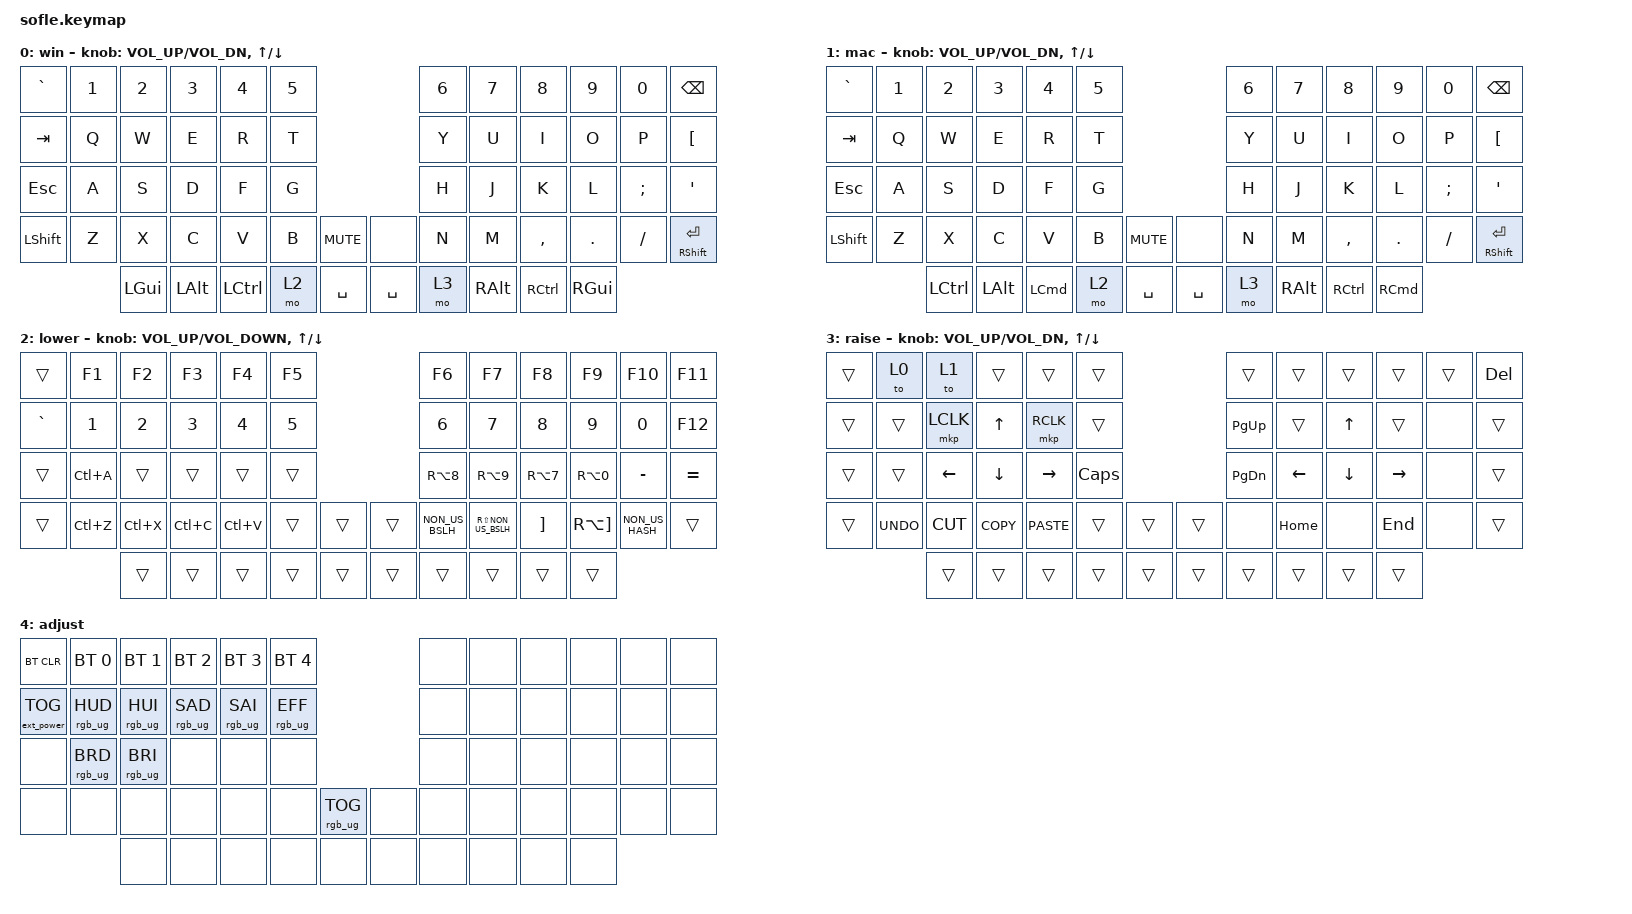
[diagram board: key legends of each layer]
#include <behaviors.dtsi>
#include <dt-bindings/zmk/bt.h>
#include <dt-bindings/zmk/ext_power.h>
#include <dt-bindings/zmk/keys.h>
#include <dt-bindings/zmk/mouse.h>
#include <dt-bindings/zmk/rgb.h>

#define BASE 0
#define MAC 1
#define LOWER 2
#define RAISE 3
#define ADJUST 4

/ {
    // Activate ADJUST layer by pressing raise and lower

    conditional_layers {
        compatible = "zmk,conditional-layers";

        adjust_layer {
            if-layers = <LOWER RAISE>;
            then-layer = <ADJUST>;
        };
    };

    keymap {
        compatible = "zmk,keymap";

        win_layer {
            display-name = "win";

            // ------------------------------------------------------------------------------------------------------------
            // |   `   |  1  |  2  |  3   |  4   |  5   |                   |  6   |  7    |  8    |  9   |   0   |       |
            // |  ESC  |  Q  |  W  |  E   |  R   |  T   |                   |  Y   |  U    |  I    |  O   |   P   | BKSPC |
            // |  TAB  |  A  |  S  |  D   |  F   |  G   |                   |  H   |  J    |  K    |  L   |   ;   |   '   |
            // | SHIFT |  Z  |  X  |  C   |  V   |  B   |  MUTE  |  |       |  N   |  M    |  ,    |  .   |   /   | SHIFT |
            //               | GUI | ALT  | CTRL | LOWER|  ENTER |  | SPACE | RAISE| CTRL  | ALT   | GUI  |

            bindings = <
&kp GRAVE  &kp N1  &kp N2        &kp N3        &kp N4     &kp N5                           &kp N6  &kp N7         &kp N8     &kp N9    &kp N0    &kp BACKSPACE
&kp TAB    &kp Q   &kp W         &kp E         &kp R      &kp T                            &kp Y   &kp U          &kp I      &kp O     &kp P     &kp LEFT_BRACKET
&kp ESC    &kp A   &kp S         &kp D         &kp F      &kp G                            &kp H   &kp J          &kp K      &kp L     &kp SEMI  &kp SQT
&kp LSHFT  &kp Z   &kp X         &kp C         &kp V      &kp B   &kp C_MUTE    &none      &kp N   &kp M          &kp COMMA  &kp DOT   &kp FSLH  &mt RSHIFT ENTER
                   &kp LEFT_GUI  &kp LEFT_ALT  &kp LCTRL  &mo 2   &kp SPACE     &kp SPACE  &mo 3   &kp RIGHT_ALT  &kp RCTRL  &kp RGUI
            >;

            sensor-bindings =
                <&inc_dec_kp C_VOLUME_UP C_VOL_DN>,
                <&inc_dec_kp UP_ARROW DOWN_ARROW>;
        };

        mac_layer {
            display-name = "mac";
            bindings = <
&kp GRAVE  &kp N1  &kp N2     &kp N3    &kp N4            &kp N5                           &kp N6  &kp N7         &kp N8     &kp N9             &kp N0    &kp BACKSPACE
&kp TAB    &kp Q   &kp W      &kp E     &kp R             &kp T                            &kp Y   &kp U          &kp I      &kp O              &kp P     &kp LEFT_BRACKET
&kp ESC    &kp A   &kp S      &kp D     &kp F             &kp G                            &kp H   &kp J          &kp K      &kp L              &kp SEMI  &kp SQT
&kp LSHFT  &kp Z   &kp X      &kp C     &kp V             &kp B   &kp C_MUTE    &none      &kp N   &kp M          &kp COMMA  &kp DOT            &kp FSLH  &mt RSHIFT ENTER
                   &kp LCTRL  &kp LALT  &kp LEFT_COMMAND  &mo 2   &kp SPACE     &kp SPACE  &mo 3   &kp RIGHT_ALT  &kp RCTRL  &kp RIGHT_COMMAND
            >;

            sensor-bindings =
                <&inc_dec_kp C_VOL_UP C_VOL_DN>,
                <&inc_dec_kp UP_ARROW DOWN_ARROW>;
        };

        lower_layer {
            display-name = "lower";

            // TODO: Some binds are waiting for shifted keycode support.
            // ------------------------------------------------------------------------------------------------------------
            // |       |  F1 |  F2 |  F3  |  F4  |  F5  |                   |  F6  |  F7   |  F8   |  F9  |  F10  |  F11  |
            // |   `   |  1  |  2  |  3   |  4   |  5   |                   |  6   |  7    |  8    |  9   |   0   |  F12  |
            // |       |  !  |  @  |  #   |  $   |  %   |                   |  ^   |  &    |  *    |  (   |   )   |   |   |
            // |       |  =  |  -  |  +   |  {   |  }   |        |  |       |  [   |  ]    |  ;    |  :   |   \   |       |
            //               |     |      |      |      |        |  |       |      |       |       |      |

            bindings = <
&trans     &kp F1     &kp F2     &kp F3     &kp F4     &kp F5                    &kp F6           &kp F7               &kp F8             &kp F9                 &kp F10          &kp F11
&kp GRAVE  &kp N1     &kp N2     &kp N3     &kp N4     &kp N5                    &kp N6           &kp N7               &kp N8             &kp N9                 &kp N0           &kp F12
&trans     &kp LC(A)  &trans     &trans     &trans     &trans                    &kp RA(N8)       &kp RA(N9)           &kp RA(N7)         &kp RA(N0)             &kp MINUS        &kp EQUAL
&trans     &kp LC(Z)  &kp LC(X)  &kp LC(C)  &kp LC(V)  &trans  &trans    &trans  &kp NON_US_BSLH  &kp RS(NON_US_BSLH)  &kp RIGHT_BRACKET  &kp RA(RIGHT_BRACKET)  &kp NON_US_HASH  &trans
                      &trans     &trans     &trans     &trans  &trans    &trans  &trans           &trans               &trans             &trans
            >;

            sensor-bindings =
                <&inc_dec_kp C_VOLUME_UP C_VOLUME_DOWN>,
                <&inc_dec_kp UP_ARROW DOWN_ARROW>;
        };

        raise_layer {
            display-name = "raise";

            // ------------------------------------------------------------------------------------------------------------
            // | BTCLR | BT1  | BT2  |  BT3  |  BT4  |  BT5 |                |      |      |       |      |       |       |
            // |       | INS  | PSCR | GUI   |       |      |                | PGUP |      |   ^   |      |       |       |
            // |       | ALT  | CTRL | SHIFT |       | CAPS |                | PGDN |   <- |   v   |  ->  |  DEL  | BKSPC |
            // |       | UNDO | CUT  | COPY  | PASTE |      |      |  |      |      |      |       |      |       |       |
            //                |      |       |       |      |      |  |      |      |      |       |      |

            bindings = <
&trans  &to 0       &to 1      &trans      &trans       &trans                      &trans     &trans    &trans    &trans     &trans  &kp DELETE
&trans  &trans      &mkp LCLK  &kp UP      &mkp RCLK    &trans                      &kp PG_UP  &trans    &kp UP    &trans     &none   &trans
&trans  &trans      &kp LEFT   &kp DOWN    &kp RIGHT    &kp CLCK                    &kp PG_DN  &kp LEFT  &kp DOWN  &kp RIGHT  &none   &trans
&trans  &kp K_UNDO  &kp K_CUT  &kp K_COPY  &kp K_PASTE  &trans    &trans    &trans  &none      &kp HOME  &none     &kp END    &none   &trans
                    &trans     &trans      &trans       &trans    &trans    &trans  &trans     &trans    &trans    &trans
            >;

            sensor-bindings =
                <&inc_dec_kp C_VOL_UP C_VOL_DN>,
                <&inc_dec_kp UP_ARROW DOWN_ARROW>;
        };

        adjust_layer {
            // ----------------------------------------------------------------------------------------------------------------------------
            // | BTCLR  |  BT1    |  BT2    |   BT3   |   BT4   |   BT5   |                  |      |      |       |      |       |       |
            // | EXTPWR | RGB_HUD | RGB_HUI | RGB_SAD | RGB_SAI | RGB_EFF |                  |      |      |       |      |       |       |
            // |        | RGB_BRD | RGB_BRI |         |         |         |                  |      |      |       |      |       |       |
            // |        |         |         |         |         |         | RGB_TOG | |      |      |      |       |      |       |       |
            //                    |         |         |         |         |         | |      |      |      |       |      |

            display-name = "adjust";
            bindings = <
&bt BT_CLR         &bt BT_SEL 0     &bt BT_SEL 1     &bt BT_SEL 2     &bt BT_SEL 3     &bt BT_SEL 4                               &none  &none  &none  &none  &none  &none
&ext_power EP_TOG  &rgb_ug RGB_HUD  &rgb_ug RGB_HUI  &rgb_ug RGB_SAD  &rgb_ug RGB_SAI  &rgb_ug RGB_EFF                            &none  &none  &none  &none  &none  &none
&none              &rgb_ug RGB_BRD  &rgb_ug RGB_BRI  &none            &none            &none                                      &none  &none  &none  &none  &none  &none
&none              &none            &none            &none            &none            &none            &rgb_ug RGB_TOG    &none  &none  &none  &none  &none  &none  &none
                                    &none            &none            &none            &none            &none              &none  &none  &none  &none  &none
            >;
        };
    };
};
